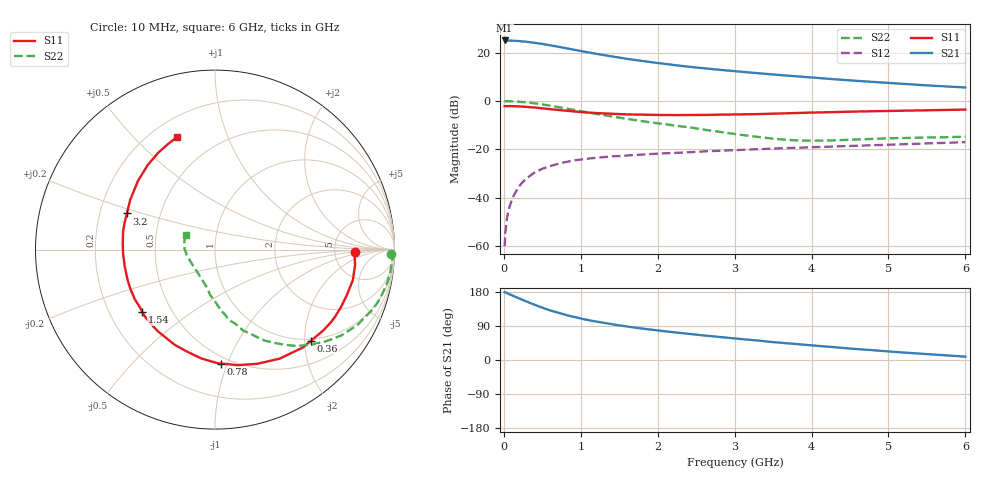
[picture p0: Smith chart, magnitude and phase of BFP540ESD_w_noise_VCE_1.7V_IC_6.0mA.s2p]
! Infineon Technologies  Discrete & RF Semiconductors
! BFP540ESD
! VCE =  1.7 V,  IC =  6.0 mA
! Common Emitter S-Parameters:  Nov 2015
# GHz  S  MA  R  50
!  f  S11  S21  S12  S22
! GHz  MAG  ANG  MAG  ANG  MAG  ANG  MAG  ANG
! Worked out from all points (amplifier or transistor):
!   210 points, 10 MHz to 6 GHz, reference 50 ohm
!   highest |S21| = 25.0 dB at 10 MHz (marker M1)
!   |S21| within 3 dB of that: start of sweep to 773.6 MHz
!   unconditionally stable (mu >= 1): 3.139 GHz to end of sweep
!   at 185 MHz: K = 0.04, MSG = 30.3 dB, |S12| = -35.9 dB
!   at 1.52 GHz: K = 0.56, MSG = 20.3 dB, |S12| = -22.7 dB
!   at 6 GHz: K = 1.20, MAG = 8.6 dB, |S12| = -17.0 dB
!   lowest NFmin = 0.73 dB at 900 MHz
!   S11 on the Smith chart (normalised r, x): 10 MHz: 8.14, -0.63; 360 MHz: 0.97, -2.15; 780 MHz: 0.45, -0.95; 1.54 GHz: 0.34, -0.33; 3.2 GHz: 0.32, +0.18; 6 GHz: 0.30, +0.68
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0.01  0.7823 -1.1  17.78 178.9  0.001 99.8  0.9793 -1.4
0.02  0.7788 -2.7  17.54 178.5  0.0019 90.5  0.9901 -1.4
0.05  0.7851 -6.2  17.68 175.5  0.0046 89.8  0.9889 -3.6
0.15  0.778 -18.5  17.52 166.8  0.0129 82.4  0.9778 -10.9
0.26  0.7626 -31.8  16.92 157.2  0.0223 76.2  0.9493 -18.7
0.36  0.7377 -43.4  16.17 149.0  0.03 70.8  0.9108 -25.3
0.4  0.7332 -48.0  15.91 145.7  0.0332 69.0  0.897 -28.0
0.5  0.7061 -59.4  15.12 138.0  0.0398 64.6  0.85 -34.3
0.6  0.6787 -69.6  14.12 131.0  0.0449 59.5  0.8009 -39.7
0.78  0.6356 -86.9  12.53 120.4  0.0537 52.9  0.7128 -48.7
0.9  0.6116 -97.0  11.5 114.1  0.0587 49.2  0.6586 -53.7
1.02  0.587 -106.3  10.61 108.7  0.0624 46.7  0.6078 -58.3
1.2  0.5621 -119.4  9.398 101.3  0.0668 42.7  0.5417 -64.3
1.54  0.5336 -139.5  7.671 90.2  0.0735 38.3  0.4421 -73.5
1.7  0.5257 -148.1  7.046 85.4  0.0767 36.3  0.4047 -78.1
2.02  0.5142 -162.4  6.025 77.4  0.0817 33.7  0.3436 -84.1
2.6  0.5153 175.9  4.726 64.7  0.0906 30.3  0.2549 -96.1
3.1  0.5275 160.5  3.991 55.0  0.0977 28.1  0.1981 -107.1
3.2  0.5307 157.7  3.868 53.3  0.0993 27.5  0.189 -110.3
4.1  0.579 136.3  2.968 36.9  0.112 22.4  0.1513 -151.2
5.1  0.6282 119.2  2.302 21.1  0.1267 17.4  0.1703 176.1
6  0.6632 108.4  1.901 8.9  0.1408 13.2  0.1821 154.3
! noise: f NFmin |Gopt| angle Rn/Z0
0.9  0.73  0.05  38  0.12
1.8  0.95  0.08  153  0.11
2.4  0.97  0.09  154  0.1
3  1.1  0.19  178  0.09
4  1.28  0.3  -122  0.14
5  1.5  0.42  -99  0.29
6  1.73  0.51  -100  0.43
